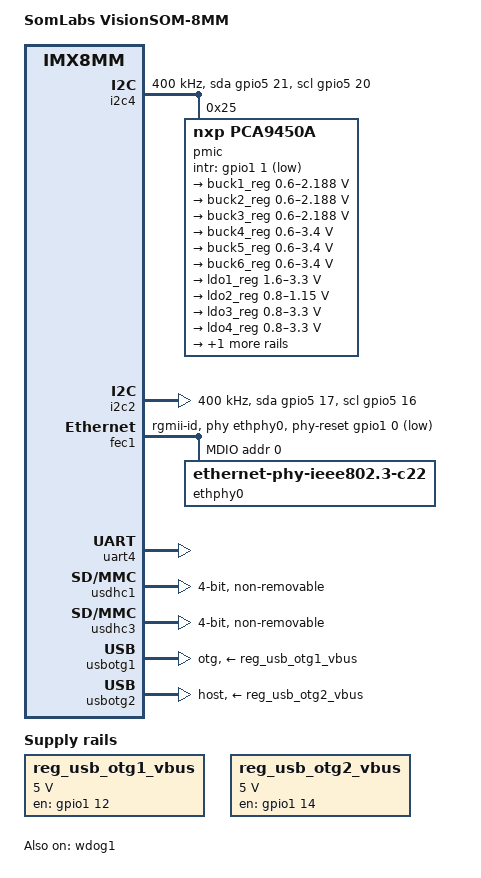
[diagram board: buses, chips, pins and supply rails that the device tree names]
// SPDX-License-Identifier: GPL-2.0+ OR MIT
/*
 * Copyright 2020 Somlabs
 */

/dts-v1/;

#include "imx8mm.dtsi"

/ {
    model = "SomLabs VisionSOM-8MM";
    compatible = "somlabs,visionsom-8mm", "fsl,imx8mm";

    chosen {
        bootargs = "console=ttymxc3,115200 earlycon=ec_imx6q,0x30a60000,115200";
        stdout-path = &uart4;
    };

    firmware {
        optee {
            compatible = "linaro,optee-tz";
            method = "smc";
        };
    };

    reg_usb_otg1_vbus: regulator-otg1 {
        compatible = "regulator-fixed";
        pinctrl-names = "default";
        pinctrl-0 = <&pinctrl_usb_otg1>;
        regulator-name = "usb_otg1_vbus";
        regulator-min-microvolt = <5000000>;
        regulator-max-microvolt = <5000000>;
        gpio = <&gpio1 12 GPIO_ACTIVE_HIGH>;
        enable-active-high;
    };

    reg_usb_otg2_vbus: regulator-otg2 {
        compatible = "regulator-fixed";
        pinctrl-names = "default";
        pinctrl-0 = <&pinctrl_usb_otg2>;
        regulator-name = "usb_otg2_vbus";
        regulator-min-microvolt = <5000000>;
        regulator-max-microvolt = <5000000>;
        gpio = <&gpio1 14 GPIO_ACTIVE_HIGH>;
        enable-active-high;
    };
};

&iomuxc {
    pinctrl-names = "default";
    pinctrl-0 = <&pinctrl_hog_1>;

    visionsom-8mm {
        pinctrl_hog_1: hoggrp-1 {
            fsl,pins = <
                MX8MM_IOMUXC_GPIO1_IO04_GPIO1_IO4		    0x19
            >;
        };

        pinctrl_usb_otg1: usbotg1 {
            fsl,pins = <
                MX8MM_IOMUXC_GPIO1_IO12_GPIO1_IO12          0x19
                MX8MM_IOMUXC_GPIO1_IO13_GPIO1_IO13          0x1c4
            >;
        };

        pinctrl_usb_otg2: usbotg2 {
            fsl,pins = <
                MX8MM_IOMUXC_GPIO1_IO14_GPIO1_IO14          0x19
                MX8MM_IOMUXC_GPIO1_IO15_GPIO1_IO15          0x1c4
            >;
        };

        pinctrl_fec1: fec1grp {
            fsl,pins = <
                MX8MM_IOMUXC_ENET_MDC_ENET1_MDC		        0x3
                MX8MM_IOMUXC_ENET_MDIO_ENET1_MDIO	        0x3
                MX8MM_IOMUXC_ENET_TD3_ENET1_RGMII_TD3	    0x1f
                MX8MM_IOMUXC_ENET_TD2_ENET1_RGMII_TD2	    0x1f
                MX8MM_IOMUXC_ENET_TD1_ENET1_RGMII_TD1	    0x1f
                MX8MM_IOMUXC_ENET_TD0_ENET1_RGMII_TD0	    0x1f
                MX8MM_IOMUXC_ENET_RD3_ENET1_RGMII_RD3	    0x91
                MX8MM_IOMUXC_ENET_RD2_ENET1_RGMII_RD2	    0x91
                MX8MM_IOMUXC_ENET_RD1_ENET1_RGMII_RD1	    0x91
                MX8MM_IOMUXC_ENET_RD0_ENET1_RGMII_RD0	    0x91
                MX8MM_IOMUXC_ENET_TXC_ENET1_RGMII_TXC	    0x1f
                MX8MM_IOMUXC_ENET_RXC_ENET1_RGMII_RXC	    0x91
                MX8MM_IOMUXC_ENET_RX_CTL_ENET1_RGMII_RX_CTL	0x91
                MX8MM_IOMUXC_ENET_TX_CTL_ENET1_RGMII_TX_CTL	0x1f
                MX8MM_IOMUXC_GPIO1_IO00_GPIO1_IO0           0x19    /* phy reset */
                MX8MM_IOMUXC_GPIO1_IO08_GPIO1_IO8		    0x1c4   /* phy int */
            >;
        };

        pinctrl_i2c4: i2c4grp {
            fsl,pins = <
                MX8MM_IOMUXC_I2C4_SCL_I2C4_SCL			    0x400001c3
                MX8MM_IOMUXC_I2C4_SDA_I2C4_SDA			    0x400001c3
            >;
        };

        pinctrl_i2c4_gpio: i2c4grp-gpio {
            fsl,pins = <
                MX8MM_IOMUXC_I2C4_SCL_GPIO5_IO20       		0x1c3
                MX8MM_IOMUXC_I2C4_SDA_GPIO5_IO21        	0x1c3
            >;
        };

        pinctrl_pmic: pmicirq {
            fsl,pins = <
                MX8MM_IOMUXC_GPIO1_IO01_GPIO1_IO1		    0x41
            >;
        };

        pinctrl_i2c2: i2c2grp {
            fsl,pins = <
                MX8MM_IOMUXC_I2C2_SCL_I2C2_SCL              0x400000c3
                MX8MM_IOMUXC_I2C2_SDA_I2C2_SDA              0x400000c3
            >;
        };

        pinctrl_i2c2_gpio: i2c2grp-gpio {
            fsl,pins = <
                MX8MM_IOMUXC_I2C2_SCL_GPIO5_IO16            0x0c3
                MX8MM_IOMUXC_I2C2_SDA_GPIO5_IO17            0x0c3
            >;
        };

        pinctrl_uart4: uart4grp {
            fsl,pins = <
                MX8MM_IOMUXC_UART4_RXD_UART4_DCE_RX	        0x49
                MX8MM_IOMUXC_UART4_TXD_UART4_DCE_TX	        0x49
            >;
        };

        pinctrl_usdhc1: usdhc1grp {
            fsl,pins = <
                MX8MM_IOMUXC_SD1_CLK_USDHC1_CLK		        0x190
                MX8MM_IOMUXC_SD1_CMD_USDHC1_CMD		        0x1d0
                MX8MM_IOMUXC_SD1_DATA0_USDHC1_DATA0	        0x1d0
                MX8MM_IOMUXC_SD1_DATA1_USDHC1_DATA1	        0x1d0
                MX8MM_IOMUXC_SD1_DATA2_USDHC1_DATA2	        0x1d0
                MX8MM_IOMUXC_SD1_DATA3_USDHC1_DATA3	        0x1d0
                MX8MM_IOMUXC_GPIO1_IO03_USDHC1_VSELECT	    0x1d0
            >;
        };

        pinctrl_usdhc1_100mhz: usdhc1grp100mhz {
            fsl,pins = <
                MX8MM_IOMUXC_SD1_CLK_USDHC1_CLK		        0x194
                MX8MM_IOMUXC_SD1_CMD_USDHC1_CMD		        0x1d4
                MX8MM_IOMUXC_SD1_DATA0_USDHC1_DATA0	        0x1d4
                MX8MM_IOMUXC_SD1_DATA1_USDHC1_DATA1	        0x1d4
                MX8MM_IOMUXC_SD1_DATA2_USDHC1_DATA2	        0x1d4
                MX8MM_IOMUXC_SD1_DATA3_USDHC1_DATA3	        0x1d4
                MX8MM_IOMUXC_GPIO1_IO03_USDHC1_VSELECT	    0x1d0
            >;
        };

        pinctrl_usdhc1_200mhz: usdhc1grp200mhz {
            fsl,pins = <
                MX8MM_IOMUXC_SD1_CLK_USDHC1_CLK		        0x196
                MX8MM_IOMUXC_SD1_CMD_USDHC1_CMD		        0x1d6
                MX8MM_IOMUXC_SD1_DATA0_USDHC1_DATA0	        0x1d6
                MX8MM_IOMUXC_SD1_DATA1_USDHC1_DATA1	        0x1d6
                MX8MM_IOMUXC_SD1_DATA2_USDHC1_DATA2	        0x1d6
                MX8MM_IOMUXC_SD1_DATA3_USDHC1_DATA3	        0x1d6
                MX8MM_IOMUXC_GPIO1_IO03_USDHC1_VSELECT	    0x1d0
            >;
        };

        pinctrl_usdhc3: usdhc3grp {
            fsl,pins = <
                MX8MM_IOMUXC_NAND_WE_B_USDHC3_CLK		    0x190
                MX8MM_IOMUXC_NAND_WP_B_USDHC3_CMD		    0x1d0
                MX8MM_IOMUXC_NAND_DATA04_USDHC3_DATA0		0x1d0
                MX8MM_IOMUXC_NAND_DATA05_USDHC3_DATA1		0x1d0
                MX8MM_IOMUXC_NAND_DATA06_USDHC3_DATA2		0x1d0
                MX8MM_IOMUXC_NAND_DATA07_USDHC3_DATA3		0x1d0
                MX8MM_IOMUXC_NAND_RE_B_USDHC3_DATA4		    0x1d0
                MX8MM_IOMUXC_NAND_CE2_B_USDHC3_DATA5		0x1d0
                MX8MM_IOMUXC_NAND_CE3_B_USDHC3_DATA6		0x1d0
                MX8MM_IOMUXC_NAND_CLE_USDHC3_DATA7		    0x1d0
                MX8MM_IOMUXC_NAND_CE1_B_USDHC3_STROBE 		0x190
            >;
        };

        pinctrl_usdhc3_100mhz: usdhc3grp100mhz {
            fsl,pins = <
                MX8MM_IOMUXC_NAND_WE_B_USDHC3_CLK		    0x194
                MX8MM_IOMUXC_NAND_WP_B_USDHC3_CMD		    0x1d4
                MX8MM_IOMUXC_NAND_DATA04_USDHC3_DATA0		0x1d4
                MX8MM_IOMUXC_NAND_DATA05_USDHC3_DATA1		0x1d4
                MX8MM_IOMUXC_NAND_DATA06_USDHC3_DATA2		0x1d4
                MX8MM_IOMUXC_NAND_DATA07_USDHC3_DATA3		0x1d4
                MX8MM_IOMUXC_NAND_RE_B_USDHC3_DATA4		    0x1d4
                MX8MM_IOMUXC_NAND_CE2_B_USDHC3_DATA5		0x1d4
                MX8MM_IOMUXC_NAND_CE3_B_USDHC3_DATA6		0x1d4
                MX8MM_IOMUXC_NAND_CLE_USDHC3_DATA7		    0x1d4
                MX8MM_IOMUXC_NAND_CE1_B_USDHC3_STROBE 		0x194
            >;
        };

        pinctrl_usdhc3_200mhz: usdhc3grp200mhz {
            fsl,pins = <
                MX8MM_IOMUXC_NAND_WE_B_USDHC3_CLK		    0x196
                MX8MM_IOMUXC_NAND_WP_B_USDHC3_CMD		    0x1d6
                MX8MM_IOMUXC_NAND_DATA04_USDHC3_DATA0		0x1d6
                MX8MM_IOMUXC_NAND_DATA05_USDHC3_DATA1		0x1d6
                MX8MM_IOMUXC_NAND_DATA06_USDHC3_DATA2		0x1d6
                MX8MM_IOMUXC_NAND_DATA07_USDHC3_DATA3		0x1d6
                MX8MM_IOMUXC_NAND_RE_B_USDHC3_DATA4		    0x1d6
                MX8MM_IOMUXC_NAND_CE2_B_USDHC3_DATA5		0x1d6
                MX8MM_IOMUXC_NAND_CE3_B_USDHC3_DATA6		0x1d6
                MX8MM_IOMUXC_NAND_CLE_USDHC3_DATA7		    0x1d6
                MX8MM_IOMUXC_NAND_CE1_B_USDHC3_STROBE 		0x196
            >;
        };

        pinctrl_wdog: wdoggrp {
            fsl,pins = <
                MX8MM_IOMUXC_GPIO1_IO02_WDOG1_WDOG_B		0xc6
            >;
        };
    };
};

&i2c4 {
    clock-frequency = <400000>;
    pinctrl-names = "default", "gpio";
    pinctrl-0 = <&pinctrl_i2c4>;
    pinctrl-1 = <&pinctrl_i2c4_gpio>;
    scl-gpios = <&gpio5 20 GPIO_ACTIVE_HIGH>;
    sda-gpios = <&gpio5 21 GPIO_ACTIVE_HIGH>;
    status = "okay";

    pmic: pca9450@25 {
        reg = <0x25>;
        compatible = "nxp,pca9450a";
        /* PMIC PCA9450 PMIC_nINT GPIO1_IO1 */
        pinctrl-0 = <&pinctrl_pmic>;
        gpio_intr = <&gpio1 1 GPIO_ACTIVE_LOW>;

        regulators {
            #address-cells = <1>;
            #size-cells = <0>;

            pca9450,pmic-buck2-uses-i2c-dvs;
            /* Run/Standby voltage */
            pca9450,pmic-buck2-dvs-voltage = <950000>, <850000>;

            buck1_reg: regulator@0 {
                reg = <0>;
                regulator-compatible = "buck1";
                regulator-min-microvolt = <600000>;
                regulator-max-microvolt = <2187500>;
                regulator-boot-on;
                regulator-always-on;
                regulator-ramp-delay = <3125>;
            };

            buck2_reg: regulator@1 {
                reg = <1>;
                regulator-compatible = "buck2";
                regulator-min-microvolt = <600000>;
                regulator-max-microvolt = <2187500>;
                regulator-boot-on;
                regulator-always-on;
                regulator-ramp-delay = <3125>;
            };

            buck3_reg: regulator@2 {
                reg = <2>;
                regulator-compatible = "buck3";
                regulator-min-microvolt = <600000>;
                regulator-max-microvolt = <2187500>;
                regulator-boot-on;
                regulator-always-on;
            };

            buck4_reg: regulator@3 {
                reg = <3>;
                regulator-compatible = "buck4";
                regulator-min-microvolt = <600000>;
                regulator-max-microvolt = <3400000>;
                regulator-boot-on;
                regulator-always-on;
            };

            buck5_reg: regulator@4 {
                reg = <4>;
                regulator-compatible = "buck5";
                regulator-min-microvolt = <600000>;
                regulator-max-microvolt = <3400000>;
                regulator-boot-on;
                regulator-always-on;
            };

            buck6_reg: regulator@5 {
                reg = <5>;
                regulator-compatible = "buck6";
                regulator-min-microvolt = <600000>;
                regulator-max-microvolt = <3400000>;
                regulator-boot-on;
                regulator-always-on;
            };

            ldo1_reg: regulator@6 {
                reg = <6>;
                regulator-compatible = "ldo1";
                regulator-min-microvolt = <1600000>;
                regulator-max-microvolt = <3300000>;
                regulator-boot-on;
                regulator-always-on;
            };

            ldo2_reg: regulator@7 {
                reg = <7>;
                regulator-compatible = "ldo2";
                regulator-min-microvolt = <800000>;
                regulator-max-microvolt = <1150000>;
                regulator-boot-on;
                regulator-always-on;
            };

            ldo3_reg: regulator@8 {
                reg = <8>;
                regulator-compatible = "ldo3";
                regulator-min-microvolt = <800000>;
                regulator-max-microvolt = <3300000>;
                regulator-boot-on;
                regulator-always-on;
            };

            ldo4_reg: regulator@9 {
                reg = <9>;
                regulator-compatible = "ldo4";
                regulator-min-microvolt = <800000>;
                regulator-max-microvolt = <3300000>;
                regulator-boot-on;
                regulator-always-on;
            };

            ldo5_reg: regulator@10 {
                reg = <10>;
                regulator-compatible = "ldo5";
                regulator-min-microvolt = <1800000>;
                regulator-max-microvolt = <3300000>;
            };
        };
    };
};

&i2c2 {
    clock-frequency = <400000>;
    pinctrl-names = "default", "gpio";
    pinctrl-0 = <&pinctrl_i2c2>;
    pinctrl-1 = <&pinctrl_i2c2_gpio>;
    scl-gpios = <&gpio5 16 GPIO_ACTIVE_HIGH>;
    sda-gpios = <&gpio5 17 GPIO_ACTIVE_HIGH>;
    status = "okay";
};

&fec1 {
    pinctrl-names = "default";
    pinctrl-0 = <&pinctrl_fec1>;
    phy-mode = "rgmii-id";
    phy-handle = <&ethphy0>;
    phy-reset-gpios = <&gpio1 0 GPIO_ACTIVE_LOW>; /* GPIO1_0 */
    fsl,magic-packet;
    status = "okay";

    mdio {
        #address-cells = <1>;
        #size-cells = <0>;

        ethphy0: ethernet-phy@0 {
            compatible = "ethernet-phy-ieee802.3-c22";
            reg = <0>;
        };
    };
};

&uart4 { /* console */
    pinctrl-names = "default";
    pinctrl-0 = <&pinctrl_uart4>;
    status = "okay";
};

/* on carrier board */
&usdhc1 {
    pinctrl-names = "default", "state_100mhz", "state_200mhz";
    pinctrl-0 = <&pinctrl_usdhc1>;
    pinctrl-1 = <&pinctrl_usdhc1_100mhz>;
    pinctrl-2 = <&pinctrl_usdhc1_200mhz>;
    bus-width = <4>;
    no-1-8-v;
    non-removable;
    //vmmc-supply = <&reg_usdhc2_vmmc>;
    status = "okay";
};

&usdhc3 {
    pinctrl-names = "default", "state_100mhz", "state_200mhz";
    pinctrl-0 = <&pinctrl_usdhc3>;
    pinctrl-1 = <&pinctrl_usdhc3_100mhz>;
    pinctrl-2 = <&pinctrl_usdhc3_200mhz>;
    bus-width = <4>;
    non-removable;
    no-1-8-v;
    status = "okay";
};

&wdog1 {
    pinctrl-names = "default";
    pinctrl-0 = <&pinctrl_wdog>;
    fsl,ext-reset-output;
    status = "okay";
};

&A53_0 {
    //arm-supply = <&buck2_reg>;
};

&usbotg1 {
    status = "okay";
    dr_mode = "otg";
    vbus-supply = <&reg_usb_otg1_vbus>;
};

&usbotg2 {
    status = "okay";
    dr_mode = "host";
    vbus-supply = <&reg_usb_otg2_vbus>;
};
